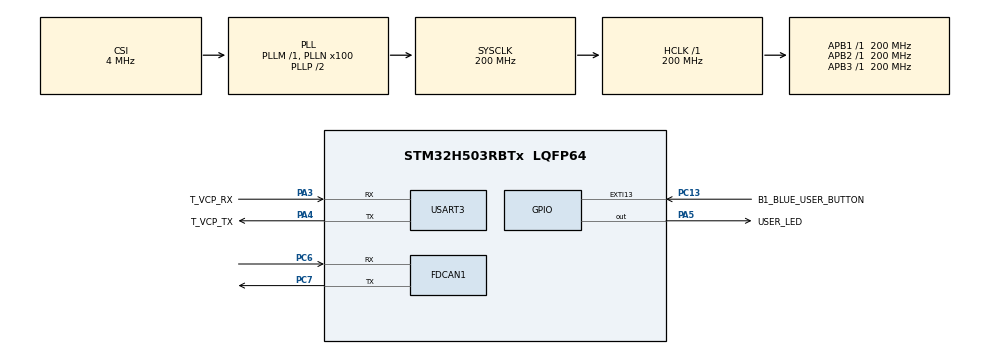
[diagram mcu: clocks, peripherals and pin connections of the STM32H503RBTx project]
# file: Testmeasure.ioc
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BOOTPATH.BootPathName=LEGACY
BOOTPATH.UserSelectedBootPath=LEGACY
FDCAN1.CalculateBaudRateNominal=800000
FDCAN1.CalculateTimeBitNominal=1250
FDCAN1.CalculateTimeQuantumNominal=125.0
FDCAN1.NominalPrescaler=25
FDCAN1.NominalTimeSeg1=8
FDCAN1.NominalTimeSeg2=1
Mcu.Family=STM32H5
Mcu.Name=STM32H503RBTx
Mcu.Package=LQFP64
NVIC.EXTI13_IRQn=true\:0\:0\:false\:false\:true\:true\:true\:true
NVIC.FDCAN1_IT0_IRQn=true\:0\:0\:false\:false\:true\:true\:true\:true
NVIC.PriorityGroup=NVIC_PRIORITYGROUP_4
NVIC.USART3_IRQn=true\:0\:0\:false\:false\:true\:true\:true\:true
PA3.GPIO_Label=T_VCP_RX
PA3.Mode=Asynchronous
PA3.Signal=USART3_RX
PA4.GPIO_Label=T_VCP_TX
PA4.Mode=Asynchronous
PA4.Signal=USART3_TX
PA5.GPIO_Label=USER_LED
PA5.Signal=GPIO_Output
PC13.GPIO_Label=B1_BLUE_USER_BUTTON
PC13.GPIO_ModeDefaultEXTI=GPIO_MODE_IT_FALLING
PC13.Signal=GPXTI13
PC6.Mode=FDCAN_Activate
PC6.Signal=FDCAN1_RX
PC7.Mode=FDCAN_Activate
PC7.Signal=FDCAN1_TX
PH0-OSC_IN(PH0).Mode=HSE-External-Oscillator
PH0-OSC_IN(PH0).Signal=RCC_OSC_IN
PH1-OSC_OUT(PH1).Mode=HSE-External-Oscillator
PH1-OSC_OUT(PH1).Signal=RCC_OSC_OUT
ProjectManager.HeapSize=0x200
ProjectManager.StackSize=0x400
ProjectManager.TargetToolchain=STM32CubeIDE
RCC.ADCFreq_Value=200000000
RCC.AHBFreq_Value=200000000
RCC.APB1Freq_Value=200000000
RCC.APB1TimFreq_Value=200000000
RCC.APB2Freq_Value=200000000
RCC.APB2TimFreq_Value=200000000
RCC.APB3Freq_Value=200000000
RCC.CSI_VALUE=4000000
RCC.CortexFreq_Value=200000000
RCC.EPOD_VALUE=4000000
RCC.FDCANClockSelection=RCC_FDCANCLKSOURCE_PLL1Q
RCC.HCLKFreq_Value=200000000
RCC.HSE_VALUE=24000000
RCC.HSI48_VALUE=48000000
RCC.HSIDiv=RCC_HSI_DIV1
RCC.HSI_VALUE=64000000
RCC.LSE_VALUE=32768
RCC.LSIRC_VALUE=32000
RCC.PLLFRACN=0
RCC.PLLN=100
RCC.SYSCLKFreq_VALUE=200000000
RCC.SYSCLKSource=RCC_SYSCLKSOURCE_PLLCLK
RCC.USBFreq_Value=48000000
RCC.VCOOutputFreq_Value=400000000
USART3.VirtualMode-Asynchronous=VM_ASYNC
VP_BOOTPATH_VS_BOOTPATH.Mode=BP_Activate
VP_CORTEX_M33_NS_VS_Hclk.Mode=Hclk_Mode
VP_MEMORYMAP_VS_MEMORYMAP.Mode=CurAppReg
VP_PWR_VS_DBSignals.Mode=DisableDeadBatterySignals
VP_PWR_VS_LPOM.Mode=PowerOptimisation
VP_PWR_VS_SECSignals.Mode=Security/Privilege
board=NUCLEO-H503RB

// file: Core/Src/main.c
/* USER CODE BEGIN Header */
/**
  ******************************************************************************
  * @file           : main.c
  * @brief          : Main program body
  ******************************************************************************
  * @attention
  *
  * Copyright (c) 2025 STMicroelectronics.
  * All rights reserved.
  *
  * This software is licensed under terms that can be found in the LICENSE file
  * in the root directory of this software component.
  * If no LICENSE file comes with this software, it is provided AS-IS.
  *
  ******************************************************************************
  */
/* USER CODE END Header */
#include "main.h"

/* USER CODE BEGIN Includes */
#include <stdio.h>
/* USER CODE END Includes */

FDCAN_HandleTypeDef hfdcan1;

UART_HandleTypeDef huart3;

void SystemClock_Config(void);
static void MX_GPIO_Init(void);
static void MX_FDCAN1_Init(void);
static void MX_USART3_UART_Init(void);
/* USER CODE BEGIN PFP */
void Print_CAN_Error(void);
/* USER CODE END PFP */

/* USER CODE BEGIN 0 */
volatile uint8_t Counter = 0;
typedef struct{
	FDCAN_TxHeaderTypeDef   TxHeader;
	FDCAN_RxHeaderTypeDef   RxHeader;
	uint32_t msgID;
	uint8_t dataTx[8];
	uint8_t dataRx[8];
} CAN_SET;

CAN_SET CAN_Payload;
volatile uint8_t flag = 0;

extern uint16_t count;
uint32_t value = 0;
uint16_t roundd =0;
/* USER CODE END 0 */

int main(void)
{

  /* MCU Configuration--------------------------------------------------------*/

  /* Reset of all peripherals, Initializes the Flash interface and the Systick. */
  HAL_Init();

  /* Configure the system clock */
  SystemClock_Config();

  /* Initialize all configured peripherals */
  MX_GPIO_Init();
  MX_FDCAN1_Init();
  MX_USART3_UART_Init();
  /* USER CODE BEGIN 2 */
  Timer2_init();
  for(uint8_t i = 0 ; i < 8 ;i++){
	  CAN_Payload.dataTx[i] = 0xFF;
  }
  /* USER CODE END 2 */

  /* Infinite loop */
  while (1)
  {

    /* USER CODE BEGIN 3 */
	  if(flag == 1){
		  CAN_Payload.TxHeader.IdType = FDCAN_STANDARD_ID;
		  CAN_Payload.TxHeader.Identifier = 0x7FF; //CAN_Payload.msgID
		  CAN_Payload.TxHeader.TxFrameType = FDCAN_DATA_FRAME;
		  CAN_Payload.TxHeader.DataLength = FDCAN_DLC_BYTES_8;        // 8-byte payloaD
		  CAN_Payload.TxHeader.ErrorStateIndicator = FDCAN_ESI_ACTIVE;
		  CAN_Payload.TxHeader.BitRateSwitch = FDCAN_BRS_OFF;         // Disable BRS
		  CAN_Payload.TxHeader.FDFormat = FDCAN_CLASSIC_CAN;          // Use Classical CAN frame
		  CAN_Payload.TxHeader.TxEventFifoControl = FDCAN_NO_TX_EVENTS;
		  CAN_Payload.TxHeader.MessageMarker = 0;

		  if (HAL_FDCAN_AddMessageToTxFifoQ(&hfdcan1, &CAN_Payload.TxHeader,CAN_Payload.dataTx)!= HAL_OK)
		  {
		       /*do not thing */
		  }
		  CAN_Payload.dataTx[0] ^= 1;
		  roundd = count;
		  value = TIM2->CNT;
		  printf("count /r/n");

		  TIM2->CR1 &= ~TIM_CR1_CEN;
		  flag = 0;
		  count = 0;
	  }

  }
  /* USER CODE END 3 */
}

void SystemClock_Config(void)
{
  RCC_OscInitTypeDef RCC_OscInitStruct = {0};
  RCC_ClkInitTypeDef RCC_ClkInitStruct = {0};

  /** Configure the main internal regulator output voltage
  */
  __HAL_PWR_VOLTAGESCALING_CONFIG(PWR_REGULATOR_VOLTAGE_SCALE1);

  while(!__HAL_PWR_GET_FLAG(PWR_FLAG_VOSRDY)) {}

  /** Initializes the RCC Oscillators according to the specified parameters
  * in the RCC_OscInitTypeDef structure.
  */
  RCC_OscInitStruct.OscillatorType = RCC_OSCILLATORTYPE_CSI;
  RCC_OscInitStruct.CSIState = RCC_CSI_ON;
  RCC_OscInitStruct.CSICalibrationValue = RCC_CSICALIBRATION_DEFAULT;
  RCC_OscInitStruct.PLL.PLLState = RCC_PLL_ON;
  RCC_OscInitStruct.PLL.PLLSource = RCC_PLL1_SOURCE_CSI;
  RCC_OscInitStruct.PLL.PLLM = 1;
  RCC_OscInitStruct.PLL.PLLN = 100;
  RCC_OscInitStruct.PLL.PLLP = 2;
  RCC_OscInitStruct.PLL.PLLQ = 2;
  RCC_OscInitStruct.PLL.PLLR = 2;
  RCC_OscInitStruct.PLL.PLLRGE = RCC_PLL1_VCIRANGE_2;
  RCC_OscInitStruct.PLL.PLLVCOSEL = RCC_PLL1_VCORANGE_WIDE;
  RCC_OscInitStruct.PLL.PLLFRACN = 0;
  if (HAL_RCC_OscConfig(&RCC_OscInitStruct) != HAL_OK)
  {
    Error_Handler();
  }

  /** Initializes the CPU, AHB and APB buses clocks
  */
  RCC_ClkInitStruct.ClockType = RCC_CLOCKTYPE_HCLK|RCC_CLOCKTYPE_SYSCLK
                              |RCC_CLOCKTYPE_PCLK1|RCC_CLOCKTYPE_PCLK2
                              |RCC_CLOCKTYPE_PCLK3;
  RCC_ClkInitStruct.SYSCLKSource = RCC_SYSCLKSOURCE_PLLCLK;
  RCC_ClkInitStruct.AHBCLKDivider = RCC_SYSCLK_DIV1;
  RCC_ClkInitStruct.APB1CLKDivider = RCC_HCLK_DIV1;
  RCC_ClkInitStruct.APB2CLKDivider = RCC_HCLK_DIV1;
  RCC_ClkInitStruct.APB3CLKDivider = RCC_HCLK_DIV1;

  if (HAL_RCC_ClockConfig(&RCC_ClkInitStruct, FLASH_LATENCY_5) != HAL_OK)
  {
    Error_Handler();
  }

  /** Configure the programming delay
  */
  __HAL_FLASH_SET_PROGRAM_DELAY(FLASH_PROGRAMMING_DELAY_2);
}

static void MX_FDCAN1_Init(void)
{

  hfdcan1.Instance = FDCAN1;
  hfdcan1.Init.ClockDivider = FDCAN_CLOCK_DIV1;
  hfdcan1.Init.FrameFormat = FDCAN_FRAME_CLASSIC;
  hfdcan1.Init.Mode = FDCAN_MODE_NORMAL;
  hfdcan1.Init.AutoRetransmission = DISABLE;
  hfdcan1.Init.TransmitPause = DISABLE;
  hfdcan1.Init.ProtocolException = DISABLE;
  hfdcan1.Init.NominalPrescaler = 25;
  hfdcan1.Init.NominalSyncJumpWidth = 1;
  hfdcan1.Init.NominalTimeSeg1 = 13;
  hfdcan1.Init.NominalTimeSeg2 = 2;
  hfdcan1.Init.DataPrescaler = 1;
  hfdcan1.Init.DataSyncJumpWidth = 1;
  hfdcan1.Init.DataTimeSeg1 = 1;
  hfdcan1.Init.DataTimeSeg2 = 1;
  hfdcan1.Init.StdFiltersNbr = 0;
  hfdcan1.Init.ExtFiltersNbr = 0;
  hfdcan1.Init.TxFifoQueueMode = FDCAN_TX_FIFO_OPERATION;
  if (HAL_FDCAN_Init(&hfdcan1) != HAL_OK)
  {
    Error_Handler();
  }
  /* USER CODE BEGIN FDCAN1_Init 2 */
  /* USER CODE BEGIN FDCAN1_Init 2 */
    if (HAL_FDCAN_Start(&hfdcan1) != HAL_OK) {
    	 /* Notification Error */
    	Error_Handler();
    }
    if (HAL_FDCAN_ActivateNotification(&hfdcan1, FDCAN_IT_RX_FIFO0_NEW_MESSAGE, 0) != HAL_OK)
    {
  	/* Notification Error */
  	Error_Handler();
    }
  /* USER CODE END FDCAN1_Init 2 */

}

static void MX_USART3_UART_Init(void)
{

  huart3.Instance = USART3;
  huart3.Init.BaudRate = 115200;
  huart3.Init.WordLength = UART_WORDLENGTH_8B;
  huart3.Init.StopBits = UART_STOPBITS_1;
  huart3.Init.Parity = UART_PARITY_NONE;
  huart3.Init.Mode = UART_MODE_TX_RX;
  huart3.Init.HwFlowCtl = UART_HWCONTROL_NONE;
  huart3.Init.OverSampling = UART_OVERSAMPLING_16;
  huart3.Init.OneBitSampling = UART_ONE_BIT_SAMPLE_DISABLE;
  huart3.Init.ClockPrescaler = UART_PRESCALER_DIV1;
  huart3.AdvancedInit.AdvFeatureInit = UART_ADVFEATURE_NO_INIT;
  if (HAL_UART_Init(&huart3) != HAL_OK)
  {
    Error_Handler();
  }
  if (HAL_UARTEx_SetTxFifoThreshold(&huart3, UART_TXFIFO_THRESHOLD_1_8) != HAL_OK)
  {
    Error_Handler();
  }
  if (HAL_UARTEx_SetRxFifoThreshold(&huart3, UART_RXFIFO_THRESHOLD_1_8) != HAL_OK)
  {
    Error_Handler();
  }
  if (HAL_UARTEx_DisableFifoMode(&huart3) != HAL_OK)
  {
    Error_Handler();
  }

}

static void MX_GPIO_Init(void)
{
  GPIO_InitTypeDef GPIO_InitStruct = {0};

  /* GPIO Ports Clock Enable */
  __HAL_RCC_GPIOC_CLK_ENABLE();
  __HAL_RCC_GPIOH_CLK_ENABLE();
  __HAL_RCC_GPIOA_CLK_ENABLE();

  /*Configure GPIO pin Output Level */
  HAL_GPIO_WritePin(USER_LED_GPIO_Port, USER_LED_Pin, GPIO_PIN_RESET);

  /*Configure GPIO pin : B1_BLUE_USER_BUTTON_Pin */
  GPIO_InitStruct.Pin = B1_BLUE_USER_BUTTON_Pin;
  GPIO_InitStruct.Mode = GPIO_MODE_IT_FALLING;
  GPIO_InitStruct.Pull = GPIO_NOPULL;
  HAL_GPIO_Init(B1_BLUE_USER_BUTTON_GPIO_Port, &GPIO_InitStruct);

  /*Configure GPIO pin : USER_LED_Pin */
  GPIO_InitStruct.Pin = USER_LED_Pin;
  GPIO_InitStruct.Mode = GPIO_MODE_OUTPUT_PP;
  GPIO_InitStruct.Pull = GPIO_NOPULL;
  GPIO_InitStruct.Speed = GPIO_SPEED_FREQ_LOW;
  HAL_GPIO_Init(USER_LED_GPIO_Port, &GPIO_InitStruct);

  /* EXTI interrupt init*/
  HAL_NVIC_SetPriority(EXTI13_IRQn, 0, 0);
  HAL_NVIC_EnableIRQ(EXTI13_IRQn);

}

/* USER CODE BEGIN 4 */
void HAL_FDCAN_RxFifo0Callback(FDCAN_HandleTypeDef *hfdcan, uint32_t RxFifo0ITs)
{
	if((RxFifo0ITs & FDCAN_IT_RX_FIFO0_NEW_MESSAGE) != RESET)
	{
		/* Retreive Rx messages from RX FIFO0 */
		if (HAL_FDCAN_GetRxMessage(hfdcan, FDCAN_RX_FIFO0, &CAN_Payload.RxHeader,CAN_Payload.dataRx) != HAL_OK)
		{
			/* Reception Error */
			Error_Handler();
		}
		if (HAL_FDCAN_ActivateNotification(hfdcan, FDCAN_IT_RX_FIFO0_NEW_MESSAGE, 0) != HAL_OK)
		{
			/* Notification Error */
			Error_Handler();
		}
	}
	if(CAN_Payload.dataRx[0] == 0x1){
		HAL_GPIO_TogglePin(GPIOA, GPIO_PIN_5);
	}
}
void Print_CAN_Error(void) {
    uint32_t lec = (FDCAN1->PSR) & 0x7; /*Last error code*/

    switch (lec) {
        case 0b000:
            printf("No CAN error occurred\r\n");
            break;
        case 0b001:
            printf("Stuff error\r\n");
            break;
        case 0b010:
            printf("Form error\r\n");
            break;
        case 0b011:
            printf("Ack error\r\n");
            break;
        case 0b100:
            printf("Bit error ->Bit1 error:\r\n");
            break;
        case 0b101:
            printf("Bit error ->Bit0 error\r\n");
            break;
        case 0b110:
            printf("CRC error: CRC mismatch on received frame\r\n");
            break;
        case 0b111:
            printf("LEC unchanged: No event since last read\r\n"); /*When read lec it reset to 111*/
            break;
    }
}
void TX_Send_CAN(){

    /* ----- Prepare CAN data --------------------------------------- */
    CAN_Payload.TxHeader.IdType = FDCAN_STANDARD_ID;
    CAN_Payload.TxHeader.Identifier = CAN_Payload.msgID; //CAN_Payload.msgID
    CAN_Payload.TxHeader.TxFrameType = FDCAN_DATA_FRAME;
    CAN_Payload.TxHeader.DataLength = FDCAN_DLC_BYTES_1;        // 8-byte payloaD
    CAN_Payload.TxHeader.ErrorStateIndicator = FDCAN_ESI_ACTIVE;
    CAN_Payload.TxHeader.BitRateSwitch = FDCAN_BRS_OFF;         // Disable BRS
    CAN_Payload.TxHeader.FDFormat = FDCAN_CLASSIC_CAN;          // Use Classical CAN frame
    CAN_Payload.TxHeader.TxEventFifoControl = FDCAN_NO_TX_EVENTS;
    CAN_Payload.TxHeader.MessageMarker = 0;

    CAN_Payload.dataTx[0] ^= 1;

    if (HAL_FDCAN_AddMessageToTxFifoQ(&hfdcan1, &CAN_Payload.TxHeader,CAN_Payload.dataTx)!= HAL_OK)
    {
      /*do not thing */
    }

}
void HAL_GPIO_EXTI_Falling_Callback(uint16_t GPIO_Pin){

	if(GPIO_Pin == B1_BLUE_USER_BUTTON_Pin){
		//Print_CAN_Error();
		flag = 1;
		 TIM2->CNT = 0;
		TIM2->CR1 |= TIM_CR1_CEN;

	}
}
int __io_putchar(int ch)
{
    HAL_UART_Transmit(&huart3, (uint8_t*)&ch, 1,1000);
    return ch;
}

/* USER CODE END 4 */

void Error_Handler(void)
{
  __disable_irq();
  while (1)
  {
  }
}
